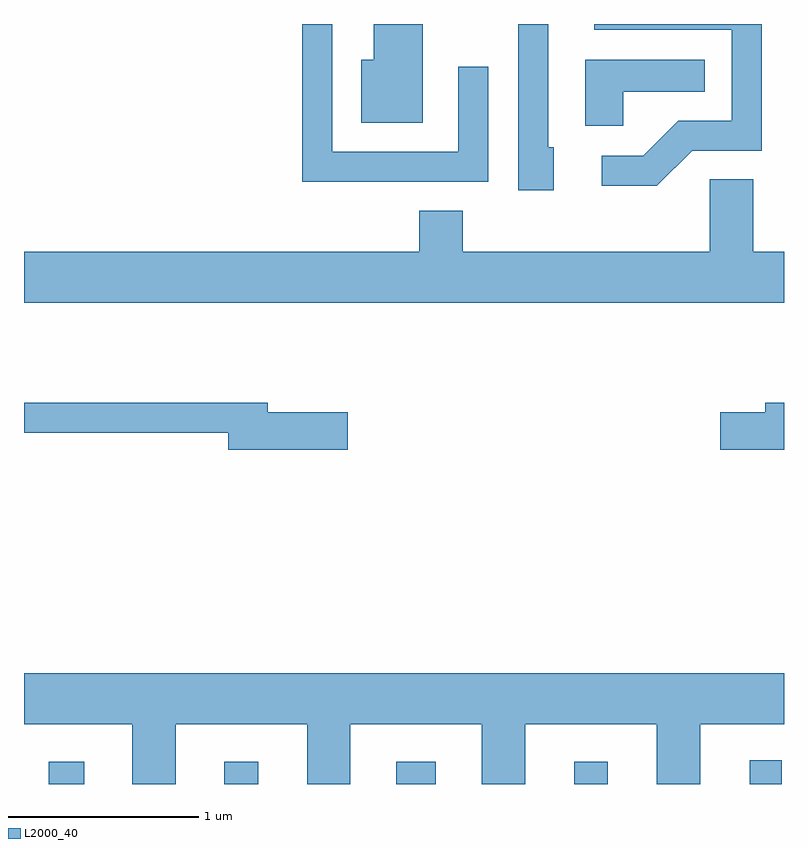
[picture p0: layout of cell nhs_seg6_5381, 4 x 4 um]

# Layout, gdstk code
import gdstk
lib = gdstk.Library(unit=1e-6, precision=1e-09)
def R(c, l, rs):  # rectangles x0, y0, x1, y1
    for r in rs: c.add(gdstk.rectangle(r[:2], r[2:], *l))
def P(c, l, *ps):  # polygons
    for p in ps: c.add(gdstk.Polygon(p, *l))
L2000_40 = (2000, 40)

nhs_seg6_5381 = lib.new_cell('nhs_seg6_5381')
R(nhs_seg6_5381, L2000_40, [(349.741,1554.162,349.929,1554.279), (350.666,1554.162,350.844,1554.279), (351.571,1554.162,351.779,1554.279), (352.506,1554.162,352.684,1554.279), (353.431,1554.162,353.599,1554.288)])
P(nhs_seg6_5381, L2000_40, [(352.399,1557.514),(352.369,1557.514),(352.369,1558.162),(352.211,1558.162),(352.211,1557.286),(352.399,1557.286)],
  [(352.054,1557.938),(351.896,1557.938),(351.896,1557.489),(351.234,1557.489),(351.234,1558.162),(351.076,1558.162),(351.076,1557.331),(352.054,1557.331)],
  [(351.709,1558.162),(351.451,1558.162),(351.451,1557.974),(351.386,1557.974),(351.386,1557.641),(351.709,1557.641)],
  [(353.127,1557.496),(353.494,1557.496),(353.494,1558.162),(352.613,1558.162),(352.613,1558.131),(353.336,1558.131),(353.336,1557.654),(353.054,1557.654),(352.869,1557.469),(352.653,1557.469),(352.653,1557.311),(352.942,1557.311)],
  [(352.764,1557.806),(353.193,1557.806),(353.193,1557.974),(352.566,1557.974),(352.566,1557.626),(352.764,1557.626)],
  [(353.611,1556.964),(353.449,1556.964),(353.449,1557.344),(353.221,1557.344),(353.221,1556.964),(351.919,1556.964),(351.919,1557.179),(351.691,1557.179),(351.691,1556.964),(349.611,1556.964),(349.611,1556.696),(353.611,1556.696)],
  [(353.611,1556.169),(353.511,1556.169),(353.511,1556.119),(353.276,1556.119),(353.276,1555.921),(353.611,1555.921)],
  [(351.314,1556.119),(350.894,1556.119),(350.894,1556.169),(349.611,1556.169),(349.611,1556.011),(350.686,1556.011),(350.686,1555.921),(351.314,1555.921)],
  [(350.409,1554.476),(351.101,1554.476),(351.101,1554.162),(351.329,1554.162),(351.329,1554.476),(352.021,1554.476),(352.021,1554.162),(352.249,1554.162),(352.249,1554.476),(352.941,1554.476),(352.941,1554.162),(353.169,1554.162),(353.169,1554.476),(353.611,1554.476),(353.611,1554.744),(349.611,1554.744),(349.611,1554.476),(350.181,1554.476),(350.181,1554.162),(350.409,1554.162)])

lib.write_gds('nhs_seg6_5381.gds')
